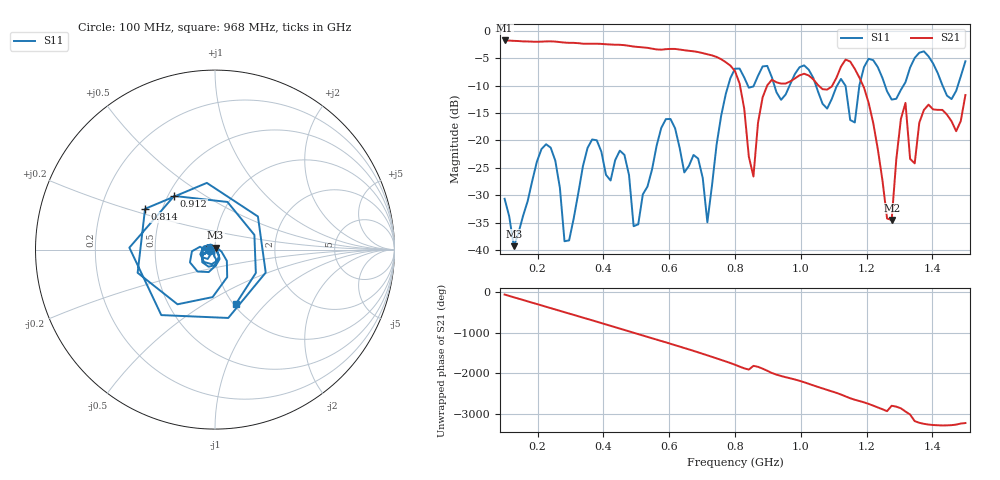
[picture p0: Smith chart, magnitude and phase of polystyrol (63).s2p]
! NanoVNA-App
! Date: 2025-09-26 09:42:22
! Start: 100MHz Stop: 1,5GHz Points: 101
! S-Parameter data: F S11 S21 S12 S22
# Hz S RI R 50
!  Frequency  S11_Real  S11_Imag  S21_Real  S21_Imag  S12_Real  S12_Imag  S22_Real  S22_Imag
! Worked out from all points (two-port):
!   101 points, 100 MHz to 1.5 GHz, reference 50 ohm
!   highest |S21| = -1.79 dB at 100 MHz (marker M1); lowest = -34.5 dB at 1.276 GHz (marker M2)
!   |S21| within 3 dB of the highest: start of sweep to 743.5 MHz
!   lowest |S11| = -39.3 dB at 128 MHz (marker M3), VSWR 1.02, Z = 50.3 + j1.05 ohm
!   |S11| at or under -10 dB: start of sweep to 779.4 MHz; 1.046 GHz to 1.11 GHz (64.5 MHz wide, 5.98 % of centre); 1.256 GHz to 1.312 GHz (56.05 MHz wide, 4.37 % of centre) (the widest 3 of 7)
!   S12 and S22 are empty: the file has one direction only
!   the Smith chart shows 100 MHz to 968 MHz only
!   S11 on the Smith chart (normalised r, x): 100 MHz: 0.94, -0.01; 814 MHz: 0.40, +0.23; 912 MHz: 0.54, +0.37; 968 MHz: 1.02, -0.70
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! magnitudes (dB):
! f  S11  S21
! 100 MHz  -30.7  -1.8
! 128 MHz  -39.3  -1.9
! 212 MHz  -21.6  -2.0
! 282 MHz  -38.4  -2.2
! 338 MHz  -24.7  -2.4
! 464 MHz  -22.6  -2.6
! 506 MHz  -35.3  -3.0
! 576 MHz  -17.7  -3.5
! 688 MHz  -23.3  -3.9
! 716 MHz  -34.9  -4.3
! 800 MHz  -6.9  -7.4
! 814 MHz  -6.9  -9.6
! 856 MHz  -10.2  -26.6
! 912 MHz  -8.5  -8.9
! 968 MHz  -9.7  -9.2
! 1.038 GHz  -8.6  -8.9
! 1.164 GHz  -16.7  -7.0
! 1.206 GHz  -5.1  -13.2
! 1.276 GHz  -12.6  -34.5
! 1.318 GHz  -9.4  -13.2
! 1.346 GHz  -5.0  -24.2
! 1.5 GHz  -5.6  -11.7
